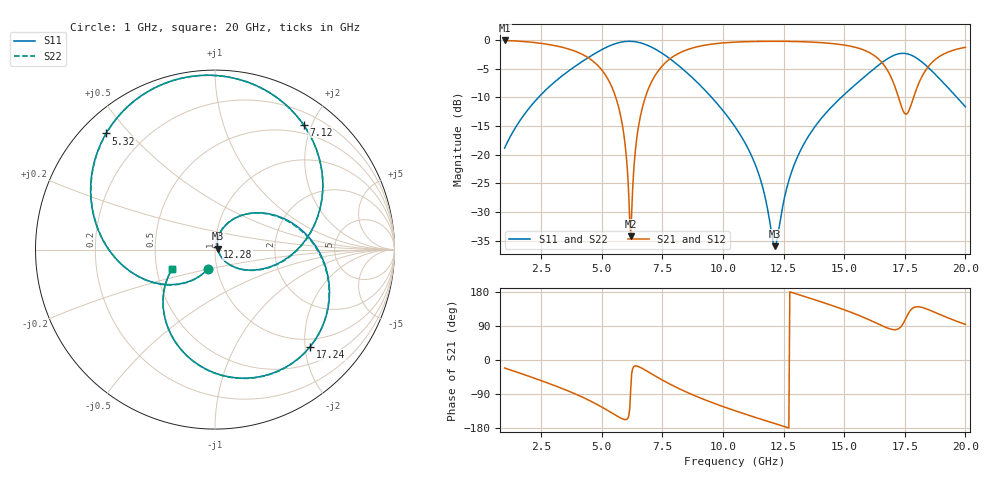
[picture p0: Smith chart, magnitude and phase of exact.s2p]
! Touchstone file from project TestMultiLine
! Exported from HFSS 14.0.0
! Variables:
!  gap = 8mm
!  hair = 35mm
!  hsub = 0.762mm
!  l = 36mm
!  lair = 50mm
!  lmic = 14mm
!  w = 25mm
!  wair = 40mm
!  wmic = 2.1mm
!  wp = 1mm
!Data is not renormalized
# GHZ S MA
! Modal data exported
! Port[1] = 1:1
! Port[2] = 2:1
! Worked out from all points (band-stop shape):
!   476 points, 1 GHz to 20 GHz, reference per port
!   highest |S21| = -0.08 dB at 1 GHz (marker M1); lowest = -34.2 dB at 6.2 GHz (marker M2)
!   |S21| within 3 dB of the highest: start of sweep to 4.443 GHz; 7.883 GHz to 16.35 GHz (8.472 GHz wide, 69.9 % of centre)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
!   lowest |S11| = -36.0 dB at 12.16 GHz (marker M3), VSWR 1.03
!   |S11| at or under -10 dB: start of sweep to 2.399 GHz; 9.534 GHz to 14.88 GHz (5.348 GHz wide, 43.8 % of centre); 19.65 GHz to end of sweep
!   |S22| runs from -35.8 to -0.2 dB; largest |S21 - S12| = 3e-11
!   S11 on the Smith chart (normalised r, x): 1 GHz: 0.90, -0.20; 5.32 GHz: 0.07, +0.43; 7.12 GHz: 0.37, +1.88; 12.28 GHz: 1.03, +0.03; 17.24 GHz: 0.83, -2.10; 20 GHz: 0.60, -0.14
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1  0.114 -110.3  0.9906 -21.1  0.9906 -21.1  0.114 -110.7
2.8  0.3841 -151.4  0.9147 -61.2  0.9147 -61.2  0.3839 -151.0
4.2  0.6492 172.0  0.7498 -97.7  0.7498 -97.7  0.6491 171.8
5.32  0.8872 133.2  0.4316 -135.8  0.4316 -135.8  0.8871 132.9
5.84  0.9609 110.9  0.1894 -154.7  0.1894 -154.7  0.9607 110.8
6.2  0.9735 94.7  0.01949 -76.7  0.01949 -76.7  0.9733 94.7
6.52  0.9538 80.2  0.1755 -17.3  0.1755 -17.3  0.9535 80.3
7.12  0.853 54.7  0.4563 -38.8  0.4563 -38.8  0.8526 54.7
7.36  0.7982 45.3  0.5473 -47.7  0.5473 -47.7  0.7978 45.3
8.8  0.4565 -0.2  0.8572 -93.1  0.8572 -93.1  0.4562 -0.6
10.52  0.1727 -38.2  0.9583 -134.3  0.9583 -134.3  0.1727 -38.3
11.44  0.07147 -50.4  0.9716 -153.6  0.9716 -153.6  0.07171 -49.6
12.16  0.01591 17.1  0.9741 -168.1  0.9741 -168.1  0.0162 16.9
12.28  0.02069 49.1  0.974 -170.5  0.974 -170.5  0.02071 48.9
12.8  0.06734 74.6  0.9713 179.1  0.9713 179.1  0.06698 75.5
13.68  0.162 64.3  0.9581 161.2  0.9581 161.2  0.1614 65.1
15.6  0.4323 22.5  0.8471 117.9  0.8471 117.9  0.4322 21.8
16.84  0.6967 -24.2  0.5192 83.2  0.5192 83.2  0.6976 -24.8
17.24  0.7572 -45.7  0.3173 82.4  0.3173 82.4  0.7585 -46.1
17.6  0.7574 -66.6  0.2282 117.0  0.2282 117.0  0.7588 -66.8
18.48  0.5721 -111.3  0.589 132.8  0.589 132.8  0.5731 -111.2
20  0.2614 -155.4  0.8624 93.9  0.8624 93.9  0.2609 -155.8
